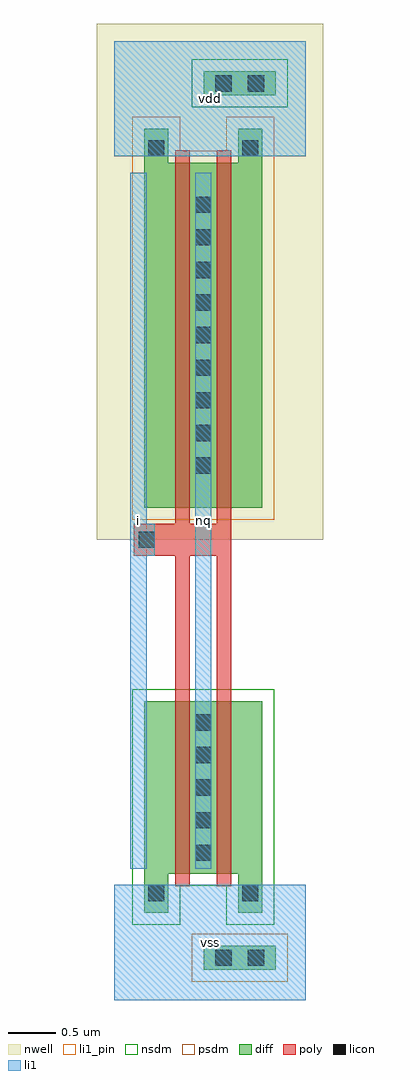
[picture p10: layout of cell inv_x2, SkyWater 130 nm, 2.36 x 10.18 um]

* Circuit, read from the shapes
.subckt inv_x2 i nq vdd vss
XM1 nq i vss VSUBS sky130_fd_pr__nfet_01v8 w=1.8 l=0.15 m=2
XM2 nq i vdd n1 sky130_fd_pr__pfet_01v8 w=3.6 l=0.15 m=2
.ends

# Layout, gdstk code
import gdstk
lib = gdstk.Library(unit=1e-6, precision=1e-09)
def R(c, l, rs):  # rectangles x0, y0, x1, y1
    for r in rs: c.add(gdstk.rectangle(r[:2], r[2:], *l))
def A(c, l, x, y, w, h, nx, ny, dx, dy):  # array of equal rectangles
    R(c, l, [(x+i*dx, y+j*dy, x+i*dx+w, y+j*dy+h) for i in range(nx) for j in range(ny)])
def P(c, l, *ps):  # polygons
    for p in ps: c.add(gdstk.Polygon(p, *l))
nwell = (64, 20)
diff = (65, 20)
poly = (66, 20)
licon = (66, 44)
li1_pin = (67, 16)
li1 = (67, 20)
nsdm = (93, 44)
psdm = (94, 20)

inv_x2 = lib.new_cell('inv_x2')
R(inv_x2, nwell, [(-0.18,4.8,2.18,10.18)])
R(inv_x2, diff, [(0.935,0.315,1.685,0.565), (0.935,9.435,1.685,9.685)])
P(inv_x2, diff, [(0.315,0.91),(0.315,3.115),(1.545,3.115),(1.545,0.91),(1.295,0.91),(1.295,1.315),(0.565,1.315),(0.565,0.91)],
  [(0.315,5.135),(0.315,9.09),(0.565,9.09),(0.565,8.735),(1.295,8.735),(1.295,9.09),(1.545,9.09),(1.545,5.135)])
P(inv_x2, poly, [(0.64,1.185),(0.64,4.635),(0.205,4.635),(0.205,4.965),(0.64,4.965),(0.64,8.865),(0.79,8.865),(0.79,4.965),(1.07,4.965),(1.07,8.865),(1.22,8.865),(1.22,1.185),(1.07,1.185),(1.07,4.635),(0.79,4.635),(0.79,1.185)])
A(inv_x2, licon, 0.845, 1.45, 0.17, 0.17, 1, 5, 0, 0.34)
A(inv_x2, licon, 0.845, 5.49, 0.17, 0.17, 1, 9, 0, 0.34)
R(inv_x2, licon, [(1.055,0.355,1.225,0.525), (1.395,0.355,1.565,0.525), (0.355,1.03,0.525,1.2), (1.335,1.03,1.505,1.2), (0.255,4.715,0.425,4.885), (0.355,8.8,0.525,8.97), (1.335,8.8,1.505,8.97), (1.055,9.475,1.225,9.645), (1.395,9.475,1.565,9.645)])
R(inv_x2, li1_pin, [(0,0,2,1.2), (0.17,1.37,0.34,8.63), (0.845,1.37,1.015,8.63), (0,8.8,2,10)])
R(inv_x2, li1, [(0,0,2,1.2), (0.845,1.37,1.015,8.63), (0,8.8,2,10)])
P(inv_x2, li1, [(0.17,1.37),(0.17,8.63),(0.34,8.63),(0.34,4.965),(0.425,4.965),(0.425,4.635),(0.34,4.635),(0.34,1.37)])
R(inv_x2, nsdm, [(0.81,9.31,1.81,9.81)])
P(inv_x2, nsdm, [(0.19,0.785),(0.19,3.24),(1.67,3.24),(1.67,0.785),(1.17,0.785),(1.17,1.19),(0.69,1.19),(0.69,0.785)])
R(inv_x2, psdm, [(0.81,0.19,1.81,0.69)])
P(inv_x2, psdm, [(0.19,5.01),(0.19,9.215),(0.69,9.215),(0.69,8.86),(1.17,8.86),(1.17,9.215),(1.67,9.215),(1.67,5.01)])
inv_x2.add(gdstk.Label('i', (0.255,5), layer=67, texttype=16))
inv_x2.add(gdstk.Label('vss', (1,0.6), layer=67, texttype=16))
inv_x2.add(gdstk.Label('vdd', (1,9.4), layer=67, texttype=16))
inv_x2.add(gdstk.Label('nq', (0.93,5), layer=67, texttype=16))
inv_x2.add(gdstk.Label('i', (0.255,5), layer=67, texttype=16))
inv_x2.add(gdstk.Label('vss', (1,0.6), layer=67, texttype=16))
inv_x2.add(gdstk.Label('vdd', (1,9.4), layer=67, texttype=16))
inv_x2.add(gdstk.Label('nq', (0.93,5), layer=67, texttype=16))

lib.write_gds('inv_x2.gds')
